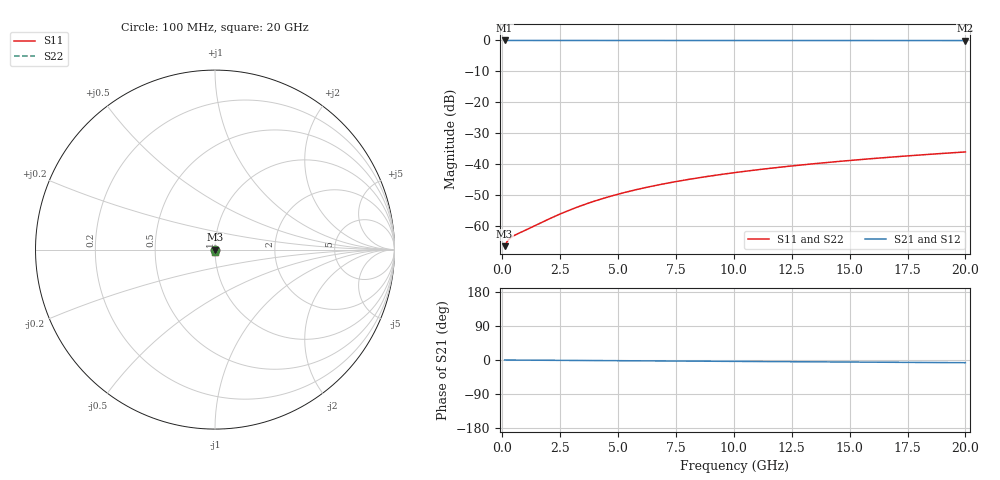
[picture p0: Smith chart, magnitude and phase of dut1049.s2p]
! Touchstone file exported from HFSS 2026.1.0
!  File:  C:/ffzhzh/LocalFiles/Ansys_Project_Files/temp_train_TMRDL_1049_1783160352_51560.aedt
!  Generated:  06:20:23 PM Jul  4, 2026
!  Design:  TMRDL
!  Project:  temp_train_TMRDL_1049_1783160352_51560
! Variables:
!  h_bsmrdl = 2um
!  h_ox = 20um
!  h_rdl = 5um
!  h_sub = 80um
!  h_tmrdl = 5.05um
!  h_tsv = 80um
!  h_via = 3um
!  l_bsmrdl = 300um
!  l_sub = 514.07um
!  l_tmrdl = 114.07um
!  m_sub = 200um
!  pitch = 33.83um
!  r_tsv = 6um
!  s_tmrdl = 10um
!  w_bsmrdl = 18um
!  w_sub = 500um
!  w_tmrdl = 29.89um
!  x_tsv_center1 = 129.015um
!  x_tsv_center2 = 447.015um
!  x_tsv_center3 = 590.975um
!  x_tsv_center4 = 908.975um
!  x_tsv_center5 = 1052.935um
!  x_tsv_center6 = 1370.935um
# GHz S MA R 50.000000
! Terminal data exported
! Port[1] = TM_RDL1_1_T1
! Port[2] = TM_RDL1_1_T2
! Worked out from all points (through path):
!   200 points, 100 MHz to 20 GHz, reference 50 ohm
!   highest |S21| = 0.00 dB at 100 MHz (marker M1); lowest = 0.0 dB at 20 GHz (marker M2)
!   lowest |S11| = -66.4 dB at 100 MHz (marker M3), VSWR 1.00, Z = 50 + j0.00714 ohm
!   |S11| at or under -10 dB: start of sweep to end of sweep
!   |S22| runs from -66.4 to -36.0 dB; largest |S21 - S12| = 3.1e-15
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0.1  0.0004788 8.6  0.9995 -0.0  0.9995 -0.0  0.0004788 8.6
! Gamma 0 0 0 0
! Port Impedance 50 0 50 0
0.2  0.0005628 7.7  0.9994 -0.1  0.9994 -0.1  0.0005628 7.7
0.3  0.0006264 3.2  0.9994 -0.1  0.9994 -0.1  0.0006264 3.2
0.4  0.0006715 -1.7  0.9993 -0.2  0.9993 -0.2  0.0006715 -1.7
0.5  0.0007071 -6.3  0.9993 -0.2  0.9993 -0.2  0.0007071 -6.3
1.8  0.001205 -38.9  0.9991 -0.7  0.9991 -0.7  0.001205 -38.9
2.3  0.001468 -44.7  0.9989 -0.9  0.9989 -0.9  0.001468 -44.7
2.9  0.001825 -49.7  0.9988 -1.1  0.9988 -1.1  0.001825 -49.7
3.5  0.002218 -53.5  0.9986 -1.3  0.9986 -1.3  0.002218 -53.5
4.2  0.00271 -57.0  0.9985 -1.6  0.9985 -1.6  0.00271 -57.0
5  0.003304 -60.2  0.9983 -1.8  0.9983 -1.8  0.003304 -60.2
5.9  0.003999 -63.2  0.9981 -2.2  0.9981 -2.2  0.003999 -63.2
6.8  0.004713 -65.8  0.9979 -2.5  0.9979 -2.5  0.004714 -65.8
7.5  0.005278 -67.5  0.9977 -2.7  0.9977 -2.7  0.005278 -67.5
8.3  0.00593 -69.2  0.9976 -3.0  0.9976 -3.0  0.005931 -69.2
9.2  0.006671 -70.9  0.9974 -3.3  0.9974 -3.3  0.006672 -70.9
10.1  0.007418 -72.4  0.9973 -3.7  0.9973 -3.7  0.007418 -72.4
11.7  0.008758 -74.8  0.997 -4.2  0.997 -4.2  0.008758 -74.8
13.4  0.0102 -76.9  0.9968 -4.8  0.9968 -4.8  0.0102 -76.9
15  0.01156 -78.6  0.9966 -5.4  0.9966 -5.4  0.01156 -78.6
16.7  0.01302 -80.2  0.9964 -6.0  0.9964 -6.0  0.01302 -80.2
20  0.01588 -82.8  0.9959 -7.1  0.9959 -7.1  0.01588 -82.8
